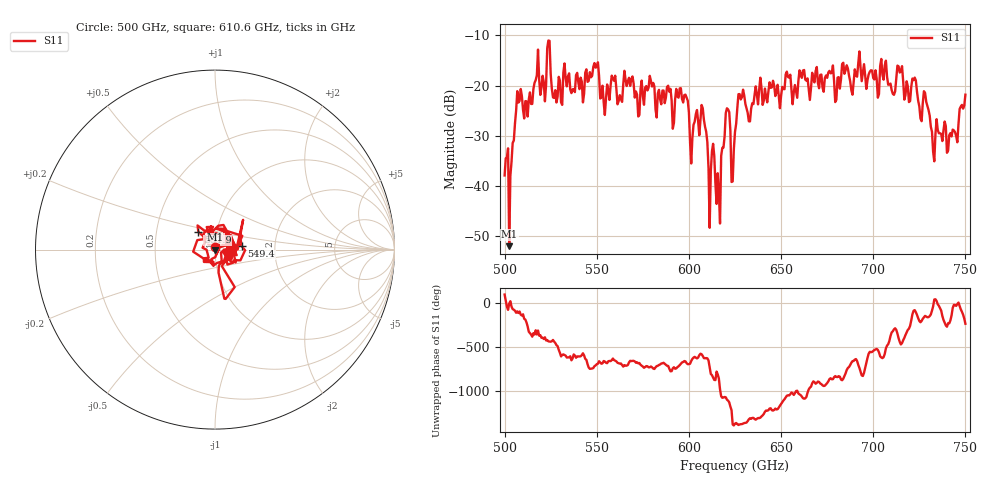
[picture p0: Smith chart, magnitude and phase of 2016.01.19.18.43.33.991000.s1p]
!Created with skrf (http://scikit-rf.org).
# GHz S RI R 50.0
!freq ReS11 ImS11
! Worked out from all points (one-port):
!   401 points, 500 GHz to 750 GHz, reference 50 ohm
!   lowest |S11| = -52.0 dB at 502.5 GHz (marker M1), VSWR 1.01, Z = 50.3 - j0.0222 ohm
!   |S11| at or under -10 dB: start of sweep to end of sweep
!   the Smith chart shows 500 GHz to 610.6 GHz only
!   S11 on the Smith chart (normalised r, x): 500 GHz: 1.00, +0.03; 531.9 GHz: 0.82, +0.16; 549.4 GHz: 1.35, +0.05; 610.6 GHz: 1.01, +0.03
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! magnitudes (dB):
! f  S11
! 500 GHz  -37.9
! 502.5 GHz  -52.0
! 508.1 GHz  -23.1
! 520.6 GHz  -18.1
! 523.8 GHz  -11.0
! 526.9 GHz  -22.5
! 531.2 GHz  -23.8
! 531.9 GHz  -17.4
! 549.4 GHz  -16.4
! 553.1 GHz  -20.0
! 562.5 GHz  -21.9
! 593.8 GHz  -22.2
! 601.9 GHz  -30.4
! 608.1 GHz  -26.8
! 610.6 GHz  -36.4
! 615.6 GHz  -37.4
! 620.6 GHz  -24.5
! 623.8 GHz  -39.1
! 625 GHz  -29.2
! 628.1 GHz  -22.8
! 656.2 GHz  -23.7
! 687.5 GHz  -19.2
! 714.4 GHz  -17.4
! 718.8 GHz  -20.1
! 728.8 GHz  -23.2
! 732.5 GHz  -33.2
! 745 GHz  -30.0
! 750 GHz  -21.8
